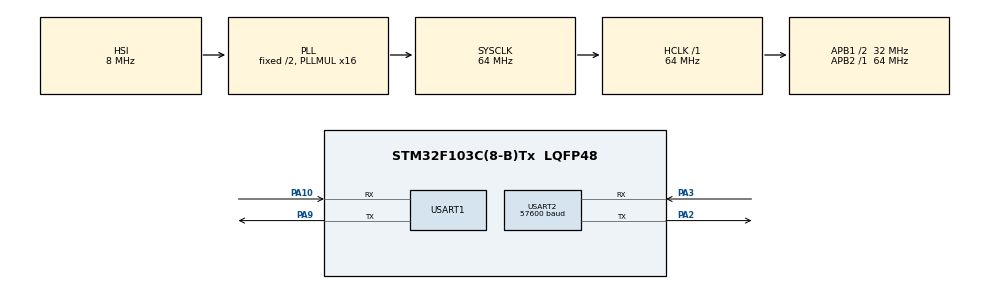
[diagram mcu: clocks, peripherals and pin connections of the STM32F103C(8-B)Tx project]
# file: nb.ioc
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Mcu.Family=STM32F1
Mcu.Name=STM32F103C(8-B)Tx
Mcu.Package=LQFP48
NVIC.PriorityGroup=NVIC_PRIORITYGROUP_4
NVIC.USART1_IRQn=true\:1\:0\:false\:false\:true\:true\:true\:true
PA10.Mode=Asynchronous
PA10.Signal=USART1_RX
PA13.Mode=Serial_Wire
PA13.Signal=SYS_JTMS-SWDIO
PA14.Mode=Serial_Wire
PA14.Signal=SYS_JTCK-SWCLK
PA2.Mode=Asynchronous
PA2.Signal=USART2_TX
PA3.Mode=Asynchronous
PA3.Signal=USART2_RX
PA9.Mode=Asynchronous
PA9.Signal=USART1_TX
ProjectManager.HeapSize=0x200
ProjectManager.StackSize=0x400
ProjectManager.TargetToolchain=EWARM V8.32
RCC.AHBFreq_Value=64000000
RCC.APB1CLKDivider=RCC_HCLK_DIV2
RCC.APB1Freq_Value=32000000
RCC.APB1TimFreq_Value=64000000
RCC.APB2Freq_Value=64000000
RCC.APB2TimFreq_Value=64000000
RCC.HCLKFreq_Value=64000000
RCC.PLLMUL=RCC_PLL_MUL16
RCC.SYSCLKFreq_VALUE=64000000
RCC.SYSCLKSource=RCC_SYSCLKSOURCE_PLLCLK
RCC.USBFreq_Value=64000000
USART1.VirtualMode=VM_ASYNC
USART2.BaudRate=57600
USART2.VirtualMode=VM_ASYNC
board=custom

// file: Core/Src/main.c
/* USER CODE BEGIN Header */
/**
  ******************************************************************************
  * @file           : main.c
  * @brief          : Main program body
  ******************************************************************************
  * @attention
  *
  * Copyright (c) 2026 STMicroelectronics.
  * All rights reserved.
  *
  * This software is licensed under terms that can be found in the LICENSE file
  * in the root directory of this software component.
  * If no LICENSE file comes with this software, it is provided AS-IS.
  *
  ******************************************************************************
  */
/* USER CODE END Header */
#include "main.h"

/* USER CODE BEGIN Includes */
#include <stdbool.h>
#include <string.h>
#include <stdio.h>
/* USER CODE END Includes */

/* USER CODE BEGIN PD */
#define RN2483_BAUDRATE      57600U
#define RN2483_RESP_TIMEOUT  1000U   /* ms, for the immediate command response */
#define RN2483_RX_WDT_MS     2000U   /* short slices keep serial commands responsive */
#define RN2483_TX_TIMEOUT_MS 10000U
#define SERIAL_COMMAND_SIZE  16U
#define SERIAL_QUEUE_DEPTH   2U
#define SILENCE_LOG_MS       15000U
#define CONTROL_COMMAND_REPEATS 3U
#define ONE_SHOT_COMMAND_REPEATS 1U
#define PING_REPLY_TIMEOUT_MS 12000U
#define BUMP_MAX_SECONDS     3600U
#define BUMP_MIN_TENTHS      10U
#define BUMP_MAX_TENTHS      (BUMP_MAX_SECONDS * 10U)
/* USER CODE END PD */

UART_HandleTypeDef huart1;
UART_HandleTypeDef huart2;

/* USER CODE BEGIN PV */
static uint32_t rx_count = 0;
static uint8_t serial_rx_byte;
static volatile char serial_input[SERIAL_COMMAND_SIZE];
static volatile uint8_t serial_input_length;
static volatile bool serial_command_discarding;
static volatile bool serial_command_overflow;
static volatile char serial_queue[SERIAL_QUEUE_DEPTH][SERIAL_COMMAND_SIZE];
static volatile uint8_t serial_queue_length[SERIAL_QUEUE_DEPTH];
static volatile uint8_t serial_queue_head;
static volatile uint8_t serial_queue_tail;
static volatile uint8_t serial_queue_count;
static bool ping_waiting;
static uint32_t ping_started_ms;
/* USER CODE END PV */

void SystemClock_Config(void);
static void MX_GPIO_Init(void);
static void MX_USART1_UART_Init(void);
static void MX_USART2_UART_Init(void);
/* USER CODE BEGIN PFP */
static void Debug_Log(const char *msg);
static void RN2483_Flush(void);
static HAL_StatusTypeDef RN2483_ReadLine(char *buf, uint16_t size, uint32_t timeout);
static HAL_StatusTypeDef RN2483_ReadLineInterruptible(char *buf,
                                                      uint16_t size,
                                                      uint32_t timeout);
static HAL_StatusTypeDef RN2483_Command(const char *cmd, char *resp, uint16_t size, uint32_t timeout);
static void RN2483_CommandChecked(const char *cmd);
static HAL_StatusTypeDef RN2483_TransmitText(const char *text, char *detail, uint16_t detail_size);
static void Serial_Command_Init(void);
static bool Serial_TakeCommand(char *command, uint16_t command_size);
static bool Parse_Bump_Command(const char *command,
                               uint32_t *duration_tenths);
static int Hex_Nibble(char c);
/* USER CODE END PFP */

/* USER CODE BEGIN 0 */
/**
  * @brief Print a line on the debug console (host serial adapter, CR/LF appended).
  */
static void Debug_Log(const char *msg)
{
  HAL_UART_Transmit(&huart1, (uint8_t *)msg, (uint16_t)strlen(msg), 100);
  HAL_UART_Transmit(&huart1, (uint8_t *)"\r\n", 2, 100);
}

/**
  * @brief Discard any pending bytes from the module (e.g. the power-up banner).
  */
static void RN2483_Flush(void)
{
  uint8_t c;
  while (HAL_UART_Receive(&huart2, &c, 1, 50) == HAL_OK)
  {
  }
}

/**
  * @brief Read one CR/LF-terminated line from the module into buf.
  *        The terminator is stripped and buf is always NUL-terminated.
  */
static HAL_StatusTypeDef RN2483_ReadLineInternal(char *buf,
                                                 uint16_t size,
                                                 uint32_t timeout,
                                                 bool serial_interruptible)
{
  uint32_t start = HAL_GetTick();
  uint16_t len = 0;

  while ((HAL_GetTick() - start) < timeout)
  {
    if (serial_interruptible && serial_queue_count > 0U)
    {
      buf[len] = '\0';
      return HAL_BUSY;
    }

    uint8_t c;
    if (HAL_UART_Receive(&huart2, &c, 1, 10) != HAL_OK)
    {
      continue;
    }
    if (c == '\r')
    {
      continue;
    }
    if (c == '\n')
    {
      if (len == 0)
      {
        continue; /* ignore stray blank lines */
      }
      buf[len] = '\0';
      return HAL_OK;
    }
    if (len < (size - 1U))
    {
      buf[len++] = (char)c;
    }
  }
  buf[len] = '\0';
  return HAL_TIMEOUT;
}

static HAL_StatusTypeDef RN2483_ReadLine(char *buf,
                                         uint16_t size,
                                         uint32_t timeout)
{
  return RN2483_ReadLineInternal(buf, size, timeout, false);
}

static HAL_StatusTypeDef RN2483_ReadLineInterruptible(char *buf,
                                                      uint16_t size,
                                                      uint32_t timeout)
{
  return RN2483_ReadLineInternal(buf, size, timeout, true);
}

/**
  * @brief Send a command (CR/LF appended) and read the immediate response line.
  */
static HAL_StatusTypeDef RN2483_Command(const char *cmd, char *resp, uint16_t size, uint32_t timeout)
{
  HAL_UART_Transmit(&huart2, (uint8_t *)cmd, (uint16_t)strlen(cmd), 100);
  HAL_UART_Transmit(&huart2, (uint8_t *)"\r\n", 2, 100);
  return RN2483_ReadLine(resp, size, timeout);
}

/**
  * @brief Send a command that must answer "ok"; hang in Error_Handler otherwise.
  */
static void RN2483_CommandChecked(const char *cmd)
{
  char resp[32];

  if (RN2483_Command(cmd, resp, sizeof(resp), RN2483_RESP_TIMEOUT) != HAL_OK ||
      strcmp(resp, "ok") != 0)
  {
    Debug_Log("ERROR: radio config command rejected:");
    Debug_Log(cmd);
    Error_Handler();
  }
}

/**
  * @brief Send an ASCII payload with the RN2483 raw-LoRa radio command.
  *        The immediate "ok" and final "radio_tx_ok" are both required.
  */
static HAL_StatusTypeDef RN2483_TransmitText(const char *text,
                                             char *detail,
                                             uint16_t detail_size)
{
  static const char hex_digits[] = "0123456789ABCDEF";
  char command[80] = "radio tx ";
  const size_t prefix_length = strlen(command);
  const size_t text_length = strlen(text);

  if (detail == NULL || detail_size == 0U)
  {
    return HAL_ERROR;
  }
  detail[0] = '\0';

  if (text_length == 0U ||
      prefix_length + (text_length * 2U) >= sizeof(command))
  {
    snprintf(detail, detail_size, "payload_too_long");
    return HAL_ERROR;
  }

  for (size_t i = 0; i < text_length; i++)
  {
    const uint8_t byte = (uint8_t)text[i];
    command[prefix_length + (i * 2U)] = hex_digits[byte >> 4];
    command[prefix_length + (i * 2U) + 1U] = hex_digits[byte & 0x0FU];
  }
  command[prefix_length + (text_length * 2U)] = '\0';

  if (RN2483_Command(command, detail, detail_size,
                     RN2483_RESP_TIMEOUT) != HAL_OK)
  {
    snprintf(detail, detail_size, "immediate_timeout");
    return HAL_TIMEOUT;
  }
  if (strcmp(detail, "ok") != 0)
  {
    return HAL_ERROR;
  }

  if (RN2483_ReadLine(detail, detail_size,
                      RN2483_TX_TIMEOUT_MS) != HAL_OK)
  {
    snprintf(detail, detail_size, "transmit_timeout");
    return HAL_TIMEOUT;
  }
  return strcmp(detail, "radio_tx_ok") == 0 ? HAL_OK : HAL_ERROR;
}

/**
  * @brief Arm interrupt-driven reception on the host UART (USART1).
  */
static void Serial_Command_Init(void)
{
  serial_input_length = 0U;
  serial_command_discarding = false;
  serial_command_overflow = false;
  serial_queue_head = 0U;
  serial_queue_tail = 0U;
  serial_queue_count = 0U;

  HAL_NVIC_SetPriority(USART1_IRQn, 1U, 0U);
  HAL_NVIC_EnableIRQ(USART1_IRQn);
  if (HAL_UART_Receive_IT(&huart1, &serial_rx_byte, 1U) != HAL_OK)
  {
    Error_Handler();
  }
}

/**
  * @brief Copy one complete serial line out of the interrupt-owned buffer.
  */
static bool Serial_TakeCommand(char *command, uint16_t command_size)
{
  if (command == NULL || command_size == 0U || serial_queue_count == 0U)
  {
    return false;
  }

  __disable_irq();
  const uint8_t slot = serial_queue_tail;
  uint8_t length = serial_queue_length[slot];
  if (length >= command_size)
  {
    length = (uint8_t)(command_size - 1U);
  }
  for (uint8_t index = 0U; index < length; index++)
  {
    command[index] = serial_queue[slot][index];
  }
  command[length] = '\0';
  serial_queue_tail = (uint8_t)((serial_queue_tail + 1U) % SERIAL_QUEUE_DEPTH);
  serial_queue_count--;
  __enable_irq();
  return true;
}

/**
  * @brief Validate a BUMP command and return its duration in tenths.
  */
static bool Parse_Bump_Command(const char *command,
                               uint32_t *duration_tenths)
{
  static const char prefix[] = "BUMP ";
  if (command == NULL || duration_tenths == NULL ||
      strncmp(command, prefix, sizeof(prefix) - 1U) != 0)
  {
    return false;
  }

  const char *cursor = command + (sizeof(prefix) - 1U);
  uint32_t whole_seconds = 0U;
  uint32_t whole_digits = 0U;
  while (*cursor >= '0' && *cursor <= '9')
  {
    const uint32_t digit = (uint32_t)(*cursor - '0');
    if (whole_seconds > (BUMP_MAX_SECONDS - digit) / 10U)
    {
      return false;
    }
    whole_seconds = (whole_seconds * 10U) + digit;
    whole_digits++;
    cursor++;
  }
  if (whole_digits == 0U)
  {
    return false;
  }

  uint32_t tenths = whole_seconds * 10U;
  if (*cursor == '.')
  {
    cursor++;
    if (*cursor < '0' || *cursor > '9' || cursor[1] != '\0')
    {
      return false;
    }
    tenths += (uint32_t)(*cursor - '0');
    cursor++;
  }

  if (*cursor != '\0' ||
      tenths < BUMP_MIN_TENTHS || tenths > BUMP_MAX_TENTHS)
  {
    return false;
  }
  *duration_tenths = tenths;
  return true;
}

/**
  * @brief Assemble CR/LF-terminated WebSerial commands without blocking the
  *        RN2483 receive wait in the main loop.
  */
void HAL_UART_RxCpltCallback(UART_HandleTypeDef *huart)
{
  if (huart != &huart1)
  {
    return;
  }

  const uint8_t byte = serial_rx_byte;
  if (byte == '\n')
  {
    if (serial_command_discarding)
    {
      serial_command_discarding = false;
      serial_command_overflow = true;
      serial_input_length = 0U;
    }
    else if (serial_input_length > 0U)
    {
      if (serial_queue_count < SERIAL_QUEUE_DEPTH)
      {
        const uint8_t slot = serial_queue_head;
        for (uint8_t index = 0U; index < serial_input_length; index++)
        {
          serial_queue[slot][index] = serial_input[index];
        }
        serial_queue[slot][serial_input_length] = '\0';
        serial_queue_length[slot] = serial_input_length;
        serial_queue_head =
            (uint8_t)((serial_queue_head + 1U) % SERIAL_QUEUE_DEPTH);
        serial_queue_count++;
      }
      else
      {
        serial_command_overflow = true;
      }
      serial_input_length = 0U;
    }
  }
  else if (byte >= 0x20U && byte <= 0x7EU && !serial_command_discarding)
  {
    if (serial_input_length < (SERIAL_COMMAND_SIZE - 1U))
    {
      serial_input[serial_input_length++] = (char)byte;
    }
    else
    {
      serial_command_discarding = true;
      serial_input_length = 0U;
    }
  }

  (void)HAL_UART_Receive_IT(&huart1, &serial_rx_byte, 1U);
}

/**
  * @brief Recover host serial reception after an overrun/noise/framing error.
  */
void HAL_UART_ErrorCallback(UART_HandleTypeDef *huart)
{
  if (huart == &huart1)
  {
    (void)HAL_UART_Receive_IT(&huart1, &serial_rx_byte, 1U);
  }
}

/**
  * @brief Hex digit -> value, or -1 if not a hex digit.
  */
static int Hex_Nibble(char c)
{
  if (c >= '0' && c <= '9') return c - '0';
  if (c >= 'A' && c <= 'F') return c - 'A' + 10;
  if (c >= 'a' && c <= 'f') return c - 'a' + 10;
  return -1;
}
/* USER CODE END 0 */

int main(void)
{

  /* MCU Configuration--------------------------------------------------------*/

  /* Reset of all peripherals, Initializes the Flash interface and the Systick. */
  HAL_Init();

  /* Configure the system clock */
  SystemClock_Config();

  /* Initialize all configured peripherals */
  MX_GPIO_Init();
  MX_USART1_UART_Init();
  MX_USART2_UART_Init();
  /* USER CODE BEGIN 2 */
  Serial_Command_Init();
  Debug_Log("new-board range bridge: booting");

  /* The RN2483 is powered separately and can still be finishing a receive
     window after this MCU is reflashed/reset.  Wait through that window,
     then discard its asynchronous radio_err/power-up output. */
  HAL_Delay(RN2483_RX_WDT_MS + 250U);
  RN2483_Flush();

  /* Pause the LoRaWAN stack so raw "radio" commands can be used.
     The reply is the pause duration in ms, not "ok".
     Retries forever; on each failure it probes the module and reports the raw
     bytes received (if any) so wiring vs. baud problems can be told apart. */
  {
    char resp[48];
    char dbg[96];
    uint8_t raw[16];
    uint32_t attempt = 0;

    for (;;)
    {
      const HAL_StatusTypeDef pause_status =
          RN2483_Command("mac pause", resp, sizeof(resp), RN2483_RESP_TIMEOUT);
      bool pause_reply_valid =
          (pause_status == HAL_OK && resp[0] != '\0' && strcmp(resp, "0") != 0);

      for (size_t index = 0U; pause_reply_valid && resp[index] != '\0'; index++)
      {
        if (resp[index] < '0' || resp[index] > '9')
        {
          pause_reply_valid = false;
        }
      }

      if (pause_reply_valid)
      {
        snprintf(dbg, sizeof(dbg), "RN2483 alive (mac pause -> %s)", resp);
        Debug_Log(dbg);
        if (RN2483_Command("sys get ver", resp, sizeof(resp), RN2483_RESP_TIMEOUT) == HAL_OK)
        {
          snprintf(dbg, sizeof(dbg), "module firmware: %s", resp);
          Debug_Log(dbg);
        }

        /* A module-side RX session survives an MCU-only reset.  Force it idle
           after MAC pause has succeeded, then drain the rxstop outcome before
           beginning the known-good radio configuration sequence. */
        (void)RN2483_Command("radio rxstop", resp, sizeof(resp),
                             RN2483_RESP_TIMEOUT);
        HAL_Delay(200U);
        RN2483_Flush();
        break;
      }

      attempt++;
      HAL_UART_Transmit(&huart2, (uint8_t *)"sys get ver\r\n", 13, 100);
      uint16_t n = 0;
      uint32_t t0 = HAL_GetTick();
      while (n < sizeof(raw) && (HAL_GetTick() - t0) < 1000U)
      {
        if (HAL_UART_Receive(&huart2, &raw[n], 1, 10) == HAL_OK)
        {
          n++;
        }
      }

      if (n == 0)
      {
        snprintf(dbg, sizeof(dbg), "attempt %lu: RX totally silent - check TX/RX crossover and module power",
                 (unsigned long)attempt);
      }
      else
      {
        int pos = snprintf(dbg, sizeof(dbg), "attempt %lu: %u raw bytes:", (unsigned long)attempt, n);
        for (uint16_t i = 0; i < n && pos < (int)sizeof(dbg) - 4; i++)
        {
          pos += snprintf(&dbg[pos], sizeof(dbg) - (size_t)pos, " %02X", raw[i]);
        }
      }
      Debug_Log(dbg);
    }
  }

  /* Radio settings - MUST match the transmitter exactly. */
  RN2483_CommandChecked("radio set mod lora");
  RN2483_CommandChecked("radio set freq 433575000"); /* 433 band - matches the antennas */
  RN2483_CommandChecked("radio set sf sf12");
  RN2483_CommandChecked("radio set bw 125");
  RN2483_CommandChecked("radio set cr 4/5");
  RN2483_CommandChecked("radio set crc on");
  RN2483_CommandChecked("radio set iqi off");
  RN2483_CommandChecked("radio set prlen 8");
  RN2483_CommandChecked("radio set sync 34");
  RN2483_CommandChecked("radio set pwr 14");
  /* Watchdog: each listen window ends with radio_err after this many ms,
     so the loop stays alive and can re-arm even if nothing is heard. */
  RN2483_CommandChecked("radio set wdt 2000");
  Debug_Log("radio configured: 433.575 MHz, SF12/BW125/CR4/5, sync 34");
  Debug_Log("bridge serial ready: PUMP_ON/OFF, BUMP 1-3600, LED_ON/OFF, or PING");
  /* USER CODE END 2 */

  /* Infinite loop */
  /* USER CODE BEGIN WHILE */
  while (1)
  {
    char resp[32];
    char line[160];
    char out[160];
    char serial_line[SERIAL_COMMAND_SIZE];
    static uint32_t last_silence_log_ms = 0U;

    if (serial_command_overflow)
    {
      __disable_irq();
      serial_command_overflow = false;
      __enable_irq();
      Debug_Log("BRIDGE SERIAL ERROR input dropped");
    }

    if (ping_waiting &&
        (HAL_GetTick() - ping_started_ms) >= PING_REPLY_TIMEOUT_MS)
    {
      const uint32_t elapsed_ms = HAL_GetTick() - ping_started_ms;
      ping_waiting = false;
      snprintf(out, sizeof(out), "BRIDGE PING TIMEOUT elapsed_ms=%lu",
               (unsigned long)elapsed_ms);
      Debug_Log(out);
    }

    /* A complete host serial line is handled only between LoRa receive windows, when
       the module is idle and can safely switch from RX to TX. */
    if (Serial_TakeCommand(serial_line, sizeof(serial_line)))
    {
      uint32_t bump_duration_tenths = 0U;
      const bool is_bump =
          Parse_Bump_Command(serial_line, &bump_duration_tenths);
      if (strcmp(serial_line, "PUMP_ON") == 0 ||
          strcmp(serial_line, "PUMP_OFF") == 0 ||
          strcmp(serial_line, "LED_ON") == 0 ||
          strcmp(serial_line, "LED_OFF") == 0 ||
          is_bump ||
          strcmp(serial_line, "PING") == 0)
      {
        char detail[32];
        HAL_StatusTypeDef transmit_status = HAL_OK;
        uint8_t transmissions = 0U;
        const bool is_ping = strcmp(serial_line, "PING") == 0;
        const uint8_t required_transmissions = is_ping || is_bump
                                                   ? ONE_SHOT_COMMAND_REPEATS
                                                   : CONTROL_COMMAND_REPEATS;

        if (is_ping && ping_waiting)
        {
          Debug_Log("BRIDGE PING BUSY");
          continue;
        }

        snprintf(out, sizeof(out), "BRIDGE SERIAL RX len=%u \"%s\"",
                 (unsigned int)strlen(serial_line), serial_line);
        Debug_Log(out);

        if (is_ping)
        {
          ping_started_ms = HAL_GetTick();
        }

        /* Persistent output commands are idempotent and repeated for link
           margin. Timed BUMP and PING commands are sent once so their effects
           cannot be extended or duplicated by bridge retries. */
        for (uint8_t attempt = 0U;
             attempt < required_transmissions;
             attempt++)
        {
          transmit_status = RN2483_TransmitText(serial_line,
                                                detail,
                                                sizeof(detail));
          if (transmit_status != HAL_OK)
          {
            break;
          }
          transmissions++;
          if (attempt + 1U < required_transmissions)
          {
            HAL_Delay(250U);
          }
        }

        if (transmit_status == HAL_OK &&
            transmissions == required_transmissions)
        {
          snprintf(out, sizeof(out), "BRIDGE RADIO TX %s OK repeats=%u",
                   serial_line, transmissions);
          Debug_Log(out);
          if (is_ping)
          {
            ping_waiting = true;
          }
        }
        else
        {
          snprintf(out, sizeof(out),
                   "BRIDGE RADIO TX %s FAILED attempt=%u (%s)",
                   serial_line, (unsigned int)(transmissions + 1U), detail);
          Debug_Log(out);
          RN2483_Flush();
        }
      }
      else
      {
        int position = snprintf(out, sizeof(out),
                                "BRIDGE SERIAL ERROR unknown len=%u hex=",
                                (unsigned int)strlen(serial_line));
        for (size_t index = 0U;
             index < strlen(serial_line) && position < (int)sizeof(out) - 3;
             index++)
        {
          position += snprintf(&out[position], sizeof(out) - (size_t)position,
                               "%02X", (uint8_t)serial_line[index]);
        }
        Debug_Log(out);
      }
      continue;
    }

    /* Arm one receive window (0 = until a packet or the watchdog fires). */
    if (RN2483_Command("radio rx 0", resp, sizeof(resp), RN2483_RESP_TIMEOUT) != HAL_OK ||
        strcmp(resp, "ok") != 0)
    {
      /* Refusal usually means a stale rx window is still active (e.g. after an
         MCU reset mid-listen) and command/response pairing has drifted. Force
         the radio idle, then drain every queued line so responses resync. */
      Debug_Log("'radio rx 0' refused - resyncing");
      RN2483_Command("radio rxstop", resp, sizeof(resp), RN2483_RESP_TIMEOUT);
      HAL_Delay(200);
      RN2483_Flush();
      continue;
    }

    /* Wait for a packet, the watchdog, or a host command. A host command stops
       this receive window instead of inheriting its remaining queue delay. */
    const HAL_StatusTypeDef receive_status =
        RN2483_ReadLineInterruptible(line,
                                     sizeof(line),
                                     RN2483_RX_WDT_MS + 2000U);
    if (receive_status == HAL_BUSY)
    {
      (void)RN2483_Command("radio rxstop", resp, sizeof(resp),
                           RN2483_RESP_TIMEOUT);
      HAL_Delay(200U);
      RN2483_Flush();
      continue;
    }
    if (receive_status != HAL_OK)
    {
      Debug_Log("(module went quiet, re-arming)");
      continue;
    }

    if (strncmp(line, "radio_rx", 8) == 0)
    {
      /* Format: "radio_rx  <hex payload>" - decode the hex into text. */
      const char *hex = &line[8];
      while (*hex == ' ')
      {
        hex++;
      }

      char text[64];
      uint16_t tlen = 0;
      while (hex[0] != '\0' && hex[1] != '\0' && tlen < sizeof(text) - 1U)
      {
        int hi = Hex_Nibble(hex[0]);
        int lo = Hex_Nibble(hex[1]);
        if (hi < 0 || lo < 0)
        {
          break;
        }
        char c = (char)((hi << 4) | lo);
        text[tlen++] = (c >= 0x20 && c < 0x7F) ? c : '.';
        hex += 2;
      }
      text[tlen] = '\0';
      const uint32_t packet_received_ms = HAL_GetTick();

      /* Signal quality of this packet - the actual range-test measurement.
         SNR = signal vs noise floor (SF12 decodes down to -20 dB);
         RSSI = absolute received power in dBm (needs module firmware >= 1.0.5,
         falls back to "?" on older firmware). */
      char snr[16] = "?";
      char rssi[16] = "?";
      RN2483_Command("radio get snr", snr, sizeof(snr), RN2483_RESP_TIMEOUT);
      RN2483_Command("radio get rssi", rssi, sizeof(rssi), RN2483_RESP_TIMEOUT);
      if (!(rssi[0] == '-' || (rssi[0] >= '0' && rssi[0] <= '9')))
      {
        strcpy(rssi, "?");
      }

      rx_count++;
      snprintf(out, sizeof(out), "RX %lu: \"%s\" (snr %s, rssi %s)",
               (unsigned long)rx_count, text, snr, rssi);
      Debug_Log(out);
      if (strcmp(text, "PONG") == 0)
      {
        if (ping_waiting)
        {
          ping_waiting = false;
          snprintf(out, sizeof(out),
                   "BRIDGE PING OK rtt_ms=%lu snr=%s rssi=%s",
                   (unsigned long)(packet_received_ms - ping_started_ms),
                   snr,
                   rssi);
          Debug_Log(out);
        }
        else
        {
          Debug_Log("BRIDGE PING UNEXPECTED PONG");
        }
      }
    }
    else if (strcmp(line, "radio_err") == 0)
    {
      const uint32_t now = HAL_GetTick();
      if ((now - last_silence_log_ms) >= SILENCE_LOG_MS)
      {
        Debug_Log("(nothing heard recently, still listening)");
        last_silence_log_ms = now;
      }
    }
    else
    {
      snprintf(out, sizeof(out), "unexpected from module: %.135s", line);
      Debug_Log(out);
    }
    /* USER CODE END WHILE */

  }
}

void SystemClock_Config(void)
{
  RCC_OscInitTypeDef RCC_OscInitStruct = {0};
  RCC_ClkInitTypeDef RCC_ClkInitStruct = {0};

  /** Initializes the RCC Oscillators according to the specified parameters
  * in the RCC_OscInitTypeDef structure.
  */
  RCC_OscInitStruct.OscillatorType = RCC_OSCILLATORTYPE_HSI;
  RCC_OscInitStruct.HSIState = RCC_HSI_ON;
  RCC_OscInitStruct.HSICalibrationValue = RCC_HSICALIBRATION_DEFAULT;
  RCC_OscInitStruct.PLL.PLLState = RCC_PLL_ON;
  RCC_OscInitStruct.PLL.PLLSource = RCC_PLLSOURCE_HSI_DIV2;
  RCC_OscInitStruct.PLL.PLLMUL = RCC_PLL_MUL16;
  if (HAL_RCC_OscConfig(&RCC_OscInitStruct) != HAL_OK)
  {
    Error_Handler();
  }

  /** Initializes the CPU, AHB and APB buses clocks
  */
  RCC_ClkInitStruct.ClockType = RCC_CLOCKTYPE_HCLK|RCC_CLOCKTYPE_SYSCLK
                              |RCC_CLOCKTYPE_PCLK1|RCC_CLOCKTYPE_PCLK2;
  RCC_ClkInitStruct.SYSCLKSource = RCC_SYSCLKSOURCE_PLLCLK;
  RCC_ClkInitStruct.AHBCLKDivider = RCC_SYSCLK_DIV1;
  RCC_ClkInitStruct.APB1CLKDivider = RCC_HCLK_DIV2;
  RCC_ClkInitStruct.APB2CLKDivider = RCC_HCLK_DIV1;

  if (HAL_RCC_ClockConfig(&RCC_ClkInitStruct, FLASH_LATENCY_2) != HAL_OK)
  {
    Error_Handler();
  }
}

static void MX_USART1_UART_Init(void)
{

  huart1.Instance = USART1;
  huart1.Init.BaudRate = 115200;
  huart1.Init.WordLength = UART_WORDLENGTH_8B;
  huart1.Init.StopBits = UART_STOPBITS_1;
  huart1.Init.Parity = UART_PARITY_NONE;
  huart1.Init.Mode = UART_MODE_TX_RX;
  huart1.Init.HwFlowCtl = UART_HWCONTROL_NONE;
  huart1.Init.OverSampling = UART_OVERSAMPLING_16;
  if (HAL_UART_Init(&huart1) != HAL_OK)
  {
    Error_Handler();
  }

}

static void MX_USART2_UART_Init(void)
{

  huart2.Instance = USART2;
  huart2.Init.BaudRate = RN2483_BAUDRATE;
  huart2.Init.WordLength = UART_WORDLENGTH_8B;
  huart2.Init.StopBits = UART_STOPBITS_1;
  huart2.Init.Parity = UART_PARITY_NONE;
  huart2.Init.Mode = UART_MODE_TX_RX;
  huart2.Init.HwFlowCtl = UART_HWCONTROL_NONE;
  huart2.Init.OverSampling = UART_OVERSAMPLING_16;
  if (HAL_UART_Init(&huart2) != HAL_OK)
  {
    Error_Handler();
  }

}

static void MX_GPIO_Init(void)
{

  /* GPIO Ports Clock Enable */
  __HAL_RCC_GPIOA_CLK_ENABLE();

}

void Error_Handler(void)
{
  __disable_irq();
  while (1)
  {
  }
}
